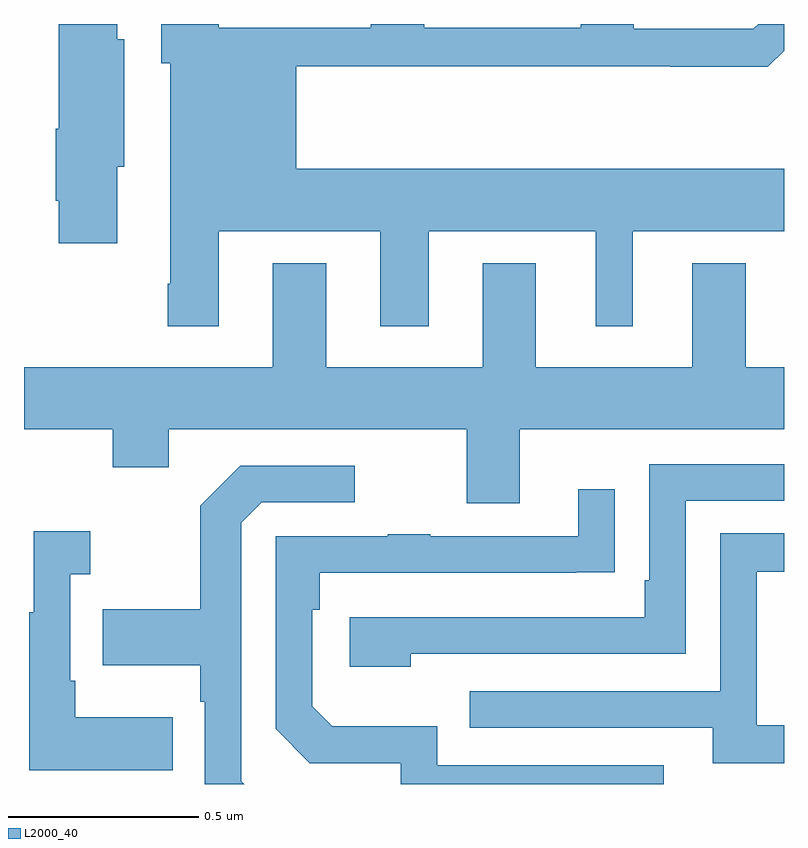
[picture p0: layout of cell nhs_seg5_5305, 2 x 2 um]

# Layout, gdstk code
import gdstk
lib = gdstk.Library(unit=1e-6, precision=1e-09)
def P(c, l, *ps):  # polygons
    for p in ps: c.add(gdstk.Polygon(p, *l))
L2000_40 = (2000, 40)

nhs_seg5_5305 = lib.new_cell('nhs_seg5_5305')
P(nhs_seg5_5305, L2000_40, [(181.513,885.254),(181.937,885.254),(181.937,885.003),(182.065,885.003),(182.065,885.254),(182.504,885.254),(182.504,885.003),(182.602,885.003),(182.602,885.254),(183,885.254),(183,885.418),(181.717,885.418),(181.717,885.688),(182.701,885.688),(182.701,885.686),(182.957,885.686),(183,885.729),(183,885.799),(182.932,885.799),(182.919,885.786),(182.605,885.786),(182.605,885.799),(182.465,885.799),(182.465,885.789),(182.053,885.789),(182.053,885.799),(181.913,885.799),(181.913,885.789),(181.513,885.789),(181.513,885.799),(181.361,885.799),(181.361,885.696),(181.385,885.696),(181.385,885.115),(181.378,885.115),(181.378,885.003),(181.513,885.003)],
  [(181.246,885.423),(181.264,885.423),(181.264,885.759),(181.246,885.759),(181.246,885.799),(181.091,885.799),(181.091,885.523),(181.084,885.523),(181.084,885.334),(181.091,885.334),(181.091,885.222),(181.246,885.222)],
  [(182.305,884.732),(183,884.732),(183,884.896),(182.899,884.896),(182.899,885.169),(182.759,885.169),(182.759,884.896),(182.347,884.896),(182.347,885.169),(182.207,885.169),(182.207,884.896),(181.795,884.896),(181.795,885.169),(181.655,885.169),(181.655,884.896),(181,884.896),(181,884.732),(181.234,884.732),(181.234,884.633),(181.381,884.633),(181.381,884.732),(182.165,884.732),(182.165,884.538),(182.305,884.538)],
  [(182.018,884.142),(182.742,884.142),(182.742,884.544),(183,884.544),(183,884.64),(182.646,884.64),(182.646,884.335),(182.633,884.335),(182.633,884.238),(181.857,884.238),(181.857,884.108),(182.018,884.108)],
  [(181.572,883.806),(181.572,884.487),(181.626,884.541),(181.87,884.541),(181.87,884.637),(181.569,884.637),(181.464,884.531),(181.464,884.259),(181.207,884.259),(181.207,884.111),(181.464,884.111),(181.464,884.015),(181.476,884.015),(181.476,883.799),(181.579,883.799)],
  [(182.683,883.848),(182.088,883.848),(182.088,883.951),(181.811,883.951),(181.758,884.004),(181.758,884.258),(181.778,884.258),(181.778,884.355),(182.453,884.355),(182.453,884.356),(182.555,884.356),(182.555,884.575),(182.459,884.575),(182.459,884.451),(182.069,884.451),(182.069,884.456),(181.957,884.456),(181.957,884.451),(181.662,884.451),(181.662,883.944),(181.752,883.854),(181.992,883.854),(181.992,883.799),(182.683,883.799)],
  [(181.391,883.975),(181.135,883.975),(181.135,884.071),(181.122,884.071),(181.122,884.351),(181.174,884.351),(181.174,884.464),(181.025,884.464),(181.025,884.251),(181.014,884.251),(181.014,883.835),(181.391,883.835)],
  [(183,883.953),(182.928,883.953),(182.928,884.358),(183,884.358),(183,884.459),(182.832,884.459),(182.832,884.043),(182.173,884.043),(182.173,883.947),(182.813,883.947),(182.813,883.853),(183,883.853)])

lib.write_gds('nhs_seg5_5305.gds')
